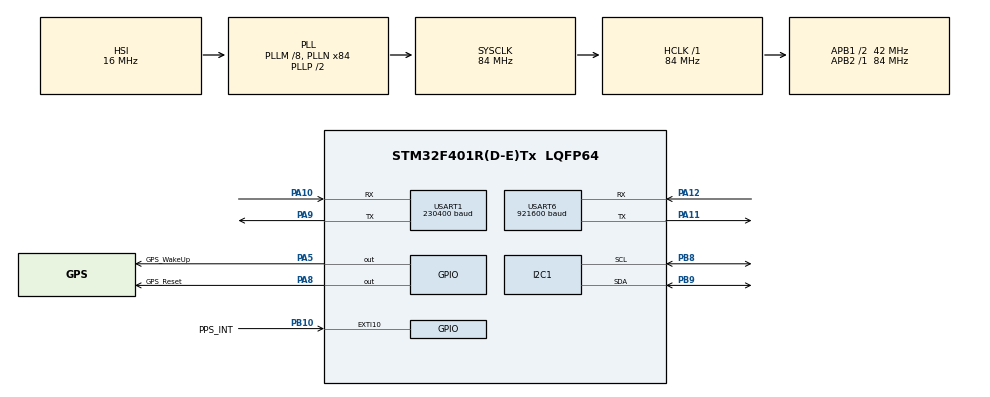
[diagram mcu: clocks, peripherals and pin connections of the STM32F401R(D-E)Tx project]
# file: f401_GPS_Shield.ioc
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Dma.Request0=USART1_RX
Dma.USART1_RX.0.Direction=DMA_PERIPH_TO_MEMORY
Dma.USART1_RX.0.FIFOMode=DMA_FIFOMODE_DISABLE
Dma.USART1_RX.0.Instance=DMA2_Stream2
Dma.USART1_RX.0.MemDataAlignment=DMA_MDATAALIGN_BYTE
Dma.USART1_RX.0.MemInc=DMA_MINC_ENABLE
Dma.USART1_RX.0.Mode=DMA_NORMAL
Dma.USART1_RX.0.PeriphDataAlignment=DMA_PDATAALIGN_BYTE
Dma.USART1_RX.0.PeriphInc=DMA_PINC_DISABLE
Dma.USART1_RX.0.Priority=DMA_PRIORITY_HIGH
Mcu.Family=STM32F4
Mcu.Name=STM32F401R(D-E)Tx
Mcu.Package=LQFP64
NVIC.DMA2_Stream2_IRQn=true\:0\:0\:false\:false\:true\:false\:true\:true
NVIC.EXTI15_10_IRQn=true\:0\:0\:false\:false\:true\:true\:true\:true
NVIC.PriorityGroup=NVIC_PRIORITYGROUP_4
NVIC.TIM2_IRQn=true\:0\:0\:false\:false\:true\:true\:true\:true
PA10.GPIO_PuPd=GPIO_PULLUP
PA10.Mode=Asynchronous
PA10.Signal=USART1_RX
PA11.Mode=Asynchronous
PA11.Signal=USART6_TX
PA12.Mode=Asynchronous
PA12.Signal=USART6_RX
PA13.Mode=Serial_Wire
PA13.Signal=SYS_JTMS-SWDIO
PA14.Mode=Serial_Wire
PA14.Signal=SYS_JTCK-SWCLK
PA5.GPIO_Label=GPS_WakeUp
PA5.Signal=GPIO_Output
PA8.GPIO_Label=GPS_Reset
PA8.Signal=GPIO_Output
PA9.GPIO_PuPd=GPIO_PULLUP
PA9.Mode=Asynchronous
PA9.Signal=USART1_TX
PB10.GPIO_Label=PPS_INT
PB10.GPIO_PuPd=GPIO_PULLDOWN
PB10.Signal=GPXTI10
PB8.GPIO_Pu=GPIO_PULLUP
PB8.Mode=I2C
PB8.Signal=I2C1_SCL
PB9.GPIO_Pu=GPIO_PULLUP
PB9.Mode=I2C
PB9.Signal=I2C1_SDA
PH0\ -\ OSC_IN.Mode=HSE-External-Oscillator
PH0\ -\ OSC_IN.Signal=RCC_OSC_IN
PH1\ -\ OSC_OUT.Mode=HSE-External-Oscillator
PH1\ -\ OSC_OUT.Signal=RCC_OSC_OUT
ProjectManager.HeapSize=0x200
ProjectManager.StackSize=0x400
ProjectManager.TargetToolchain=STM32CubeIDE
RCC.48MHZClocksFreq_Value=42000000
RCC.AHBFreq_Value=84000000
RCC.APB1CLKDivider=RCC_HCLK_DIV2
RCC.APB1Freq_Value=42000000
RCC.APB1TimFreq_Value=84000000
RCC.APB2Freq_Value=84000000
RCC.APB2TimFreq_Value=84000000
RCC.CortexFreq_Value=84000000
RCC.HCLKFreq_Value=84000000
RCC.HSE_VALUE=25000000
RCC.HSI_VALUE=16000000
RCC.LSE_VALUE=32768
RCC.PLLM=8
RCC.PLLN=84
RCC.SYSCLKFreq_VALUE=84000000
RCC.SYSCLKSource=RCC_SYSCLKSOURCE_PLLCLK
RCC.VCOOutputFreq_Value=168000000
TIM2.AutoReloadPreload=TIM_AUTORELOAD_PRELOAD_ENABLE
TIM2.Period=2499
TIM2.Prescaler=8399
USART1.BaudRate=230400
USART1.VirtualMode=VM_ASYNC
USART6.BaudRate=921600
USART6.VirtualMode=VM_ASYNC
VP_TIM2_VS_ClockSourceINT.Mode=Internal
board=custom

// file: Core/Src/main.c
/* USER CODE BEGIN Header */
/* By: Simonas Riauka and Aurimas Junevičius 2025-06 */
/**
 ******************************************************************************
 * @file           : main.c
 * @brief          : Main program body
 ******************************************************************************
 * @attention
 *
 * <h2><center>&copy; Copyright (c) 2020 STMicroelectronics.
 * All rights reserved.</center></h2>
 *
 * This software component is licensed by ST under BSD 3-Clause license,
 * the "License"; You may not use this file except in compliance with the
 * License. You may obtain a copy of the License at:
 *                        opensource.org/licenses/BSD-3-Clause
 *
 ******************************************************************************
 */

/* USER CODE END Header */
#include "main.h"

/* USER CODE BEGIN Includes */
#include <stdlib.h>
#include <string.h>
#include <stdio.h>
#include <stdbool.h>
#include "hts221_driver.h"
#include "sht40ad1b_driver.h"
#include "lis2duxs12_driver.h"
#include "gnss_driver.h"
/* USER CODE END Includes */

/* USER CODE BEGIN PD */
#define GPS_MESSAGE_BUFFER_MAX_LENGTH 200
#define GPS_MESSAGE_MAX_LENGTH 83
#define UART_TIMEOUT 10
#define MESSAGE_BUFFER_MAX_LENGTH 200
/* USER CODE END PD */

I2C_HandleTypeDef hi2c1;

TIM_HandleTypeDef htim2;

UART_HandleTypeDef huart1;
UART_HandleTypeDef huart6;
DMA_HandleTypeDef hdma_usart1_rx;

void SystemClock_Config(void);
static void MX_GPIO_Init(void);
static void MX_DMA_Init(void);
static void MX_USART6_UART_Init(void);
static void MX_USART1_UART_Init(void);
static void MX_I2C1_Init(void);
static void MX_TIM2_Init(void);
/* USER CODE BEGIN PFP */

void HAL_GPIO_EXTI_Callback(uint16_t GPIO_Pin);

/* USER CODE END PFP */

/* USER CODE BEGIN 0 */
static bool PPS_Flag = false;
static bool Sensor_Flag = false;
static uint8_t gps_message_buffer[GPS_MESSAGE_BUFFER_MAX_LENGTH] = {0};
static uint8_t message_buffer[MESSAGE_BUFFER_MAX_LENGTH] = {0};
static int message_buffer_length = 0;
//static float humidity, temperature = 0;
static int16_t acc_x, acc_y, acc_z;
static float lat, lon;
static uint8_t sat[2] = {0},
			   time[9] = {0};

void HAL_TIM_PeriodElapsedCallback(TIM_HandleTypeDef *htim) {
	UNUSED(htim);
	Sensor_Flag = true;
}

float Fix_Coordinate(float coordinate) {
	float minutes;
	int16_t degrees;
	degrees = coordinate/100;
	minutes = coordinate-degrees*100;
	coordinate = degrees + minutes/60;
	return coordinate;
}

void Parse_NMEA() {
	uint8_t hh[3], mm[3], ss[3];
	int8_t tm;

	// Atskiriamos eilutes, jog butu galima apdoroti $GPGGA eilute
	char* token = strtok((char *)gps_message_buffer, "\r\n");
	token = strtok(NULL, "\r\n");

	// Eilute suskaidoma i atskirus laukus pagal kableli
	token = strtok(token, ",");
	uint8_t i=0;
	while (token != NULL) {
		switch(i) {
		case 1: // Laikas
			// Valandos
			strncpy((char *)hh, token, 2);
			tm = atoi((char *)hh)+2; // Laiko juosta GMT+2
			if (tm >= 24)
				tm -= 24;
			if (tm < 10)
				snprintf((char *)hh, sizeof(hh), "0%d",tm);
			else
				snprintf((char *)hh, sizeof(hh), "%d",tm);

			// Minutes
			strncpy((char *)mm, &token[2], 2);

			// Sekundes
			strncpy((char *)ss, &token[4], 2);

			snprintf((char *)time, sizeof(time),
				"%s:%s:%s", hh, mm, ss);
			break;
		case 2: // Platuma
			lat = Fix_Coordinate(atof(token));
			break;
		case 4: // Ilguma
			lon = Fix_Coordinate(atof(token));
			break;
		case 7: // Palydovu kiekis
			strcpy((char *)sat, token);
			break;
		}
		i++;
		token = strtok(NULL, ",");
	}
}
/* USER CODE END 0 */

int main(void)
{

  /* MCU Configuration--------------------------------------------------------*/

  /* Reset of all peripherals, Initializes the Flash interface and the Systick. */
  HAL_Init();

  /* Configure the system clock */
  SystemClock_Config();

  /* Initialize all configured peripherals */
  MX_GPIO_Init();
  MX_DMA_Init();
  MX_USART6_UART_Init();
  MX_USART1_UART_Init();
  MX_I2C1_Init();
  MX_TIM2_Init();
  /* USER CODE BEGIN 2 */
	/* For IKS01A2 and IKS01A3 */
//	hts221_driver_init();
	/* Uncomment for IKS4A1 */
//	sht40ad1b_driver_init();

  	lis2duxs12_driver_init();
	/* Turn on GNSS module, common for both versions of shields */
	gnss_driver_init();
	/* Get hts221 temperature and humidity data for IKS01A2 and IKS01A3 */
//	if(hts221_driver_get_temperature(&temperature, &humidity) == true){
//		message_buffer_length = snprintf((char *)message_buffer, MESSAGE_BUFFER_MAX_LENGTH, "Temperature - %.2f C, Humidity - %.2f\r\n", temperature, humidity);
//		HAL_UART_Transmit(&huart6, message_buffer, message_buffer_length, UART_TIMEOUT);
//	}
	/* Get sht40ad1b relative humidity and temperature data uncomment for IKS4A1 */
//	if(sht40ad1b_driver_get_temperature(&temperature, &humidity)){
//		message_buffer_length = snprintf((char *)message_buffer, MESSAGE_BUFFER_MAX_LENGTH, "Temperature - %.2f C, Humidity - %.2f\r\n", temperature, humidity);
//		HAL_UART_Transmit(&huart6, message_buffer, message_buffer_length, UART_TIMEOUT);
//	}

  /* USER CODE END 2 */

  /* Infinite loop */
	while (1) {

    /* USER CODE BEGIN 3 */
		/* Insert periodic data readout here */
		/*GPS data reading and output on each PPS interrupt */
		if (PPS_Flag == true) {
			/* GPS message found in array: gps_message_buffer */
			/* Parse NMEA message here */
			Parse_NMEA();
			//HAL_UART_Transmit(&huart6, gps_message_buffer, GPS_MESSAGE_BUFFER_MAX_LENGTH, UART_TIMEOUT);
			/* Do periodic sensor reading here */
			PPS_Flag = false;
		}
		if (Sensor_Flag == true) {
			if (lis2duxs12_driver_get_acc(&acc_x, &acc_y, &acc_z)) {
				message_buffer_length = snprintf((char *)message_buffer, MESSAGE_BUFFER_MAX_LENGTH,
					"KS,%s,%f,%f,%s,%d,%d,%d\r\n",
					time, lat, lon, sat, acc_x, acc_y, acc_z);
			}
			HAL_UART_Transmit(&huart6, message_buffer, message_buffer_length, UART_TIMEOUT);
			Sensor_Flag = false;
		}
	}
  /* USER CODE END 3 */
}

void SystemClock_Config(void)
{
  RCC_OscInitTypeDef RCC_OscInitStruct = {0};
  RCC_ClkInitTypeDef RCC_ClkInitStruct = {0};

  /** Configure the main internal regulator output voltage
  */
  __HAL_RCC_PWR_CLK_ENABLE();
  __HAL_PWR_VOLTAGESCALING_CONFIG(PWR_REGULATOR_VOLTAGE_SCALE2);

  /** Initializes the RCC Oscillators according to the specified parameters
  * in the RCC_OscInitTypeDef structure.
  */
  RCC_OscInitStruct.OscillatorType = RCC_OSCILLATORTYPE_HSI;
  RCC_OscInitStruct.HSIState = RCC_HSI_ON;
  RCC_OscInitStruct.HSICalibrationValue = RCC_HSICALIBRATION_DEFAULT;
  RCC_OscInitStruct.PLL.PLLState = RCC_PLL_ON;
  RCC_OscInitStruct.PLL.PLLSource = RCC_PLLSOURCE_HSI;
  RCC_OscInitStruct.PLL.PLLM = 8;
  RCC_OscInitStruct.PLL.PLLN = 84;
  RCC_OscInitStruct.PLL.PLLP = RCC_PLLP_DIV2;
  RCC_OscInitStruct.PLL.PLLQ = 4;
  if (HAL_RCC_OscConfig(&RCC_OscInitStruct) != HAL_OK)
  {
    Error_Handler();
  }

  /** Initializes the CPU, AHB and APB buses clocks
  */
  RCC_ClkInitStruct.ClockType = RCC_CLOCKTYPE_HCLK|RCC_CLOCKTYPE_SYSCLK
                              |RCC_CLOCKTYPE_PCLK1|RCC_CLOCKTYPE_PCLK2;
  RCC_ClkInitStruct.SYSCLKSource = RCC_SYSCLKSOURCE_PLLCLK;
  RCC_ClkInitStruct.AHBCLKDivider = RCC_SYSCLK_DIV1;
  RCC_ClkInitStruct.APB1CLKDivider = RCC_HCLK_DIV2;
  RCC_ClkInitStruct.APB2CLKDivider = RCC_HCLK_DIV1;

  if (HAL_RCC_ClockConfig(&RCC_ClkInitStruct, FLASH_LATENCY_2) != HAL_OK)
  {
    Error_Handler();
  }
}

static void MX_I2C1_Init(void)
{

  hi2c1.Instance = I2C1;
  hi2c1.Init.ClockSpeed = 100000;
  hi2c1.Init.DutyCycle = I2C_DUTYCYCLE_2;
  hi2c1.Init.OwnAddress1 = 0;
  hi2c1.Init.AddressingMode = I2C_ADDRESSINGMODE_7BIT;
  hi2c1.Init.DualAddressMode = I2C_DUALADDRESS_DISABLE;
  hi2c1.Init.OwnAddress2 = 0;
  hi2c1.Init.GeneralCallMode = I2C_GENERALCALL_DISABLE;
  hi2c1.Init.NoStretchMode = I2C_NOSTRETCH_DISABLE;
  if (HAL_I2C_Init(&hi2c1) != HAL_OK)
  {
    Error_Handler();
  }

}

static void MX_TIM2_Init(void)
{

  TIM_ClockConfigTypeDef sClockSourceConfig = {0};
  TIM_MasterConfigTypeDef sMasterConfig = {0};

  htim2.Instance = TIM2;
  htim2.Init.Prescaler = 8399;
  htim2.Init.CounterMode = TIM_COUNTERMODE_UP;
  htim2.Init.Period = 2499;
  htim2.Init.ClockDivision = TIM_CLOCKDIVISION_DIV1;
  htim2.Init.AutoReloadPreload = TIM_AUTORELOAD_PRELOAD_ENABLE;
  if (HAL_TIM_Base_Init(&htim2) != HAL_OK)
  {
    Error_Handler();
  }
  sClockSourceConfig.ClockSource = TIM_CLOCKSOURCE_INTERNAL;
  if (HAL_TIM_ConfigClockSource(&htim2, &sClockSourceConfig) != HAL_OK)
  {
    Error_Handler();
  }
  sMasterConfig.MasterOutputTrigger = TIM_TRGO_RESET;
  sMasterConfig.MasterSlaveMode = TIM_MASTERSLAVEMODE_DISABLE;
  if (HAL_TIMEx_MasterConfigSynchronization(&htim2, &sMasterConfig) != HAL_OK)
  {
    Error_Handler();
  }

}

static void MX_USART1_UART_Init(void)
{

  huart1.Instance = USART1;
  huart1.Init.BaudRate = 230400;
  huart1.Init.WordLength = UART_WORDLENGTH_8B;
  huart1.Init.StopBits = UART_STOPBITS_1;
  huart1.Init.Parity = UART_PARITY_NONE;
  huart1.Init.Mode = UART_MODE_TX_RX;
  huart1.Init.HwFlowCtl = UART_HWCONTROL_NONE;
  huart1.Init.OverSampling = UART_OVERSAMPLING_16;
  if (HAL_UART_Init(&huart1) != HAL_OK)
  {
    Error_Handler();
  }

}

static void MX_USART6_UART_Init(void)
{

  huart6.Instance = USART6;
  huart6.Init.BaudRate = 921600;
  huart6.Init.WordLength = UART_WORDLENGTH_8B;
  huart6.Init.StopBits = UART_STOPBITS_1;
  huart6.Init.Parity = UART_PARITY_NONE;
  huart6.Init.Mode = UART_MODE_TX_RX;
  huart6.Init.HwFlowCtl = UART_HWCONTROL_NONE;
  huart6.Init.OverSampling = UART_OVERSAMPLING_16;
  if (HAL_UART_Init(&huart6) != HAL_OK)
  {
    Error_Handler();
  }

}

static void MX_DMA_Init(void)
{

  /* DMA controller clock enable */
  __HAL_RCC_DMA2_CLK_ENABLE();

  /* DMA interrupt init */
  /* DMA2_Stream2_IRQn interrupt configuration */
  HAL_NVIC_SetPriority(DMA2_Stream2_IRQn, 0, 0);
  HAL_NVIC_EnableIRQ(DMA2_Stream2_IRQn);

}

static void MX_GPIO_Init(void)
{
  GPIO_InitTypeDef GPIO_InitStruct = {0};

  /* GPIO Ports Clock Enable */
  __HAL_RCC_GPIOH_CLK_ENABLE();
  __HAL_RCC_GPIOA_CLK_ENABLE();
  __HAL_RCC_GPIOB_CLK_ENABLE();

  /*Configure GPIO pin Output Level */
  HAL_GPIO_WritePin(GPIOA, GPS_WakeUp_Pin|GPS_Reset_Pin, GPIO_PIN_RESET);

  /*Configure GPIO pins : GPS_WakeUp_Pin GPS_Reset_Pin */
  GPIO_InitStruct.Pin = GPS_WakeUp_Pin|GPS_Reset_Pin;
  GPIO_InitStruct.Mode = GPIO_MODE_OUTPUT_PP;
  GPIO_InitStruct.Pull = GPIO_NOPULL;
  GPIO_InitStruct.Speed = GPIO_SPEED_FREQ_LOW;
  HAL_GPIO_Init(GPIOA, &GPIO_InitStruct);

  /*Configure GPIO pin : PPS_INT_Pin */
  GPIO_InitStruct.Pin = PPS_INT_Pin;
  GPIO_InitStruct.Mode = GPIO_MODE_IT_RISING;
  GPIO_InitStruct.Pull = GPIO_PULLDOWN;
  HAL_GPIO_Init(PPS_INT_GPIO_Port, &GPIO_InitStruct);

  /* EXTI interrupt init*/
  HAL_NVIC_SetPriority(EXTI15_10_IRQn, 0, 0);
  HAL_NVIC_EnableIRQ(EXTI15_10_IRQn);

}

/* USER CODE BEGIN 4 */
/* External GPIO interrupt handler */
void HAL_GPIO_EXTI_Callback(uint16_t GPIO_Pin){
	/* PPS interrupt handler */
	if(GPIO_Pin == PPS_INT_Pin){
		/* PPS interrupt found, receive DMA data */
		PPS_Flag = true;
		HAL_UART_Receive_DMA(&huart1, gps_message_buffer, GPS_MESSAGE_BUFFER_MAX_LENGTH);

		if (HAL_TIM_Base_GetState(&htim2) == HAL_TIM_STATE_READY) {
			HAL_TIM_Base_Start_IT(&htim2); //run TIM11 timer
		}
	}
}
/* USER CODE END 4 */

void Error_Handler(void)
{
	while(1){
	}
}
